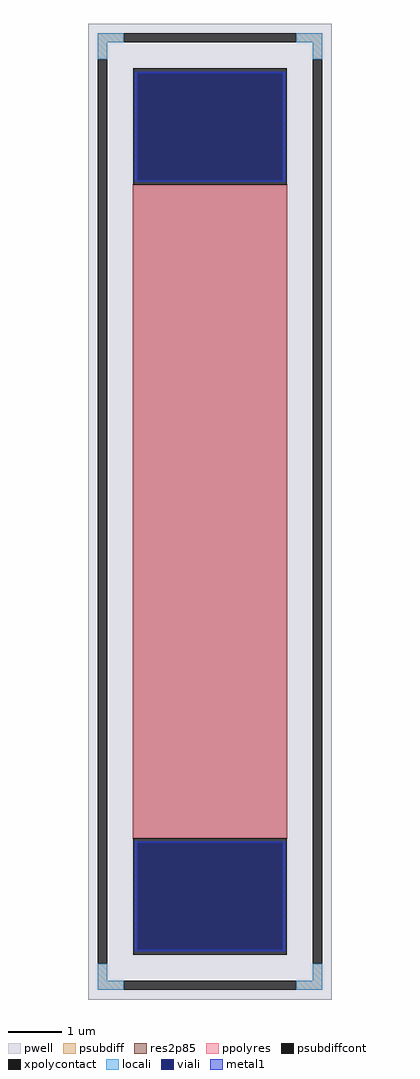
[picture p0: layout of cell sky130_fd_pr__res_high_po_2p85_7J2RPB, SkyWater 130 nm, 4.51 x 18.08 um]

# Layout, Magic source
magic
tech sky130A
magscale 1 2
<< pwell >>
rect -451 -1808 451 1808
<< psubdiff >>
rect -415 1738 -319 1772
rect 319 1738 415 1772
rect -415 1676 -381 1738
rect 381 1676 415 1738
rect -415 -1738 -381 -1676
rect 381 -1738 415 -1676
rect -415 -1772 -319 -1738
rect 319 -1772 415 -1738
<< psubdiffcont >>
rect -319 1738 319 1772
rect -415 -1676 -381 1676
rect 381 -1676 415 1676
rect -319 -1772 319 -1738
<< xpolycontact >>
rect -285 1210 285 1642
rect -285 -1642 285 -1210
<< ppolyres >>
rect -285 -1210 285 1210
<< locali >>
rect -415 1738 -319 1772
rect 319 1738 415 1772
rect -415 1676 -381 1738
rect 381 1676 415 1738
rect -415 -1738 -381 -1676
rect 381 -1738 415 -1676
rect -415 -1772 -319 -1738
rect 319 -1772 415 -1738
<< viali >>
rect -269 1227 269 1624
rect -269 -1624 269 -1227
<< metal1 >>
rect -281 1624 281 1630
rect -281 1227 -269 1624
rect 269 1227 281 1624
rect -281 1221 281 1227
rect -281 -1227 281 -1221
rect -281 -1624 -269 -1227
rect 269 -1624 281 -1227
rect -281 -1630 281 -1624
<< res2p85 >>
rect -287 -1212 287 1212
<< properties >>
string FIXED_BBOX -398 -1755 398 1755
string gencell sky130_fd_pr__res_high_po_2p85
string library sky130
string parameters w 2.850 l 12.1 m 1 nx 1 wmin 2.850 lmin 0.50 rho 319.8 val 1.494k dummy 0 dw 0.0 term 194.82 sterm 0.0 caplen 0 guard 1 glc 1 grc 1 gtc 1 gbc 1 compatible {sky130_fd_pr__res_high_po_0p35  sky130_fd_pr__res_high_po_0p69 sky130_fd_pr__res_high_po_1p41  sky130_fd_pr__res_high_po_2p85 sky130_fd_pr__res_high_po_5p73} snake 0 full_metal 1 wmax 2.850 n_guard 0 hv_guard 0 vias 1 viagb 0 viagt 0 viagl 0 viagr 0
<< end >>
